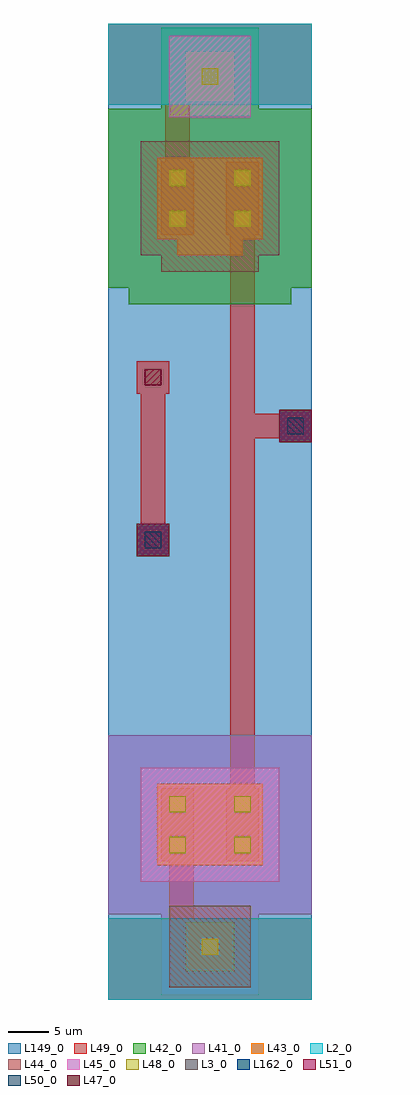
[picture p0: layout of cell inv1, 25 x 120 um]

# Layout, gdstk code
import gdstk
lib = gdstk.Library(unit=1e-6, precision=1e-09)
def R(c, l, rs):  # rectangles x0, y0, x1, y1
    for r in rs: c.add(gdstk.rectangle(r[:2], r[2:], *l))
def P(c, l, *ps):  # polygons
    for p in ps: c.add(gdstk.Polygon(p, *l))
L2_0 = (2, 0)
L3_0 = (3, 0)
L41_0 = (41, 0)
L42_0 = (42, 0)
L43_0 = (43, 0)
L44_0 = (44, 0)
L45_0 = (45, 0)
L46_0 = (46, 0)
L47_0 = (47, 0)
L48_0 = (48, 0)
L49_0 = (49, 0)
L50_0 = (50, 0)
L51_0 = (51, 0)
L149_0 = (149, 0)
L162_0 = (162, 0)

via = lib.new_cell('via')
R(via, L49_0, [(-2,-2,2,2)])
R(via, L50_0, [(-1,-1,1,1)])
R(via, L51_0, [(-2,-2,2,2)])

inv1 = lib.new_cell('inv1')
R(inv1, L2_0, [(0,0,25,10), (0,110,25,120)])
R(inv1, L3_0, [(3.5,54.5,7.5,58.5), (21,68.5,25,72.5)])
R(inv1, L41_0, [(6.5,0.5,18.5,12.5), (0,10.5,25,32.5)])
R(inv1, L42_0, [(6.5,107.5,18.5,119.5)])
P(inv1, L42_0, [(2.5,85.5),(2.5,87.5),(0,87.5),(0,109.5),(25,109.5),(25,87.5),(22.5,87.5),(22.5,85.5)])
R(inv1, L43_0, [(9.5,3.5,15.5,9.5), (6,16.5,19,26.5), (6,16.5,11.5,26.5), (13.5,16.5,19,26.5), (9.5,110.5,15.5,116.5)])
P(inv1, L43_0, [(8.5,91.5),(8.5,93.5),(6,93.5),(6,103.5),(19,103.5),(19,93.5),(16.5,93.5),(16.5,91.5)],
  [(8.5,91.5),(8.5,93.5),(6,93.5),(6,103.5),(11.5,103.5),(11.5,91.5)],
  [(13.5,91.5),(13.5,103.5),(19,103.5),(19,93.5),(16.5,93.5),(16.5,91.5)])
R(inv1, L44_0, [(7.5,1.5,17.5,11.5)])
P(inv1, L44_0, [(6.5,89.5),(6.5,91.5),(4,91.5),(4,105.5),(21,105.5),(21,91.5),(18.5,91.5),(18.5,89.5)])
R(inv1, L45_0, [(4,14.5,21,28.5), (7.5,108.5,17.5,118.5)])
R(inv1, L47_0, [(4.5,75.5,6.5,77.5)])
R(inv1, L48_0, [(11.5,5.5,13.5,7.5), (7.5,18,9.5,20), (15.5,18,17.5,20), (7.5,23,9.5,25), (15.5,23,17.5,25), (7.5,95,9.5,97), (15.5,95,17.5,97), (7.5,100,9.5,102), (15.5,100,17.5,102), (11.5,112.5,13.5,114.5)])
R(inv1, L49_0, [(0,0,25,10), (10.5,4.5,14.5,8.5), (7.5,5.5,10.5,20), (6.5,17,10.5,26), (14.5,17,18.5,26), (3.5,74.5,7.5,78.5), (6.5,94,10.5,103), (14.5,94,18.5,103), (7,99.5,10,114), (0,110,25,120), (10.5,111.5,14.5,115.5)])
R(inv1, L149_0, [(0,0,25,10), (0,0,25,120), (10.5,4.5,14.5,8.5), (7.5,5.5,10.5,20), (3.5,74.5,7.5,78.5), (7,99.5,10,114), (0,110,25,120), (10.5,111.5,14.5,115.5)])
R(inv1, L162_0, [(3.5,54.5,7.5,58.5), (21,68.5,25,72.5)])
inv1.add(gdstk.FlexPath([(16.5,70.5),(23,70.5)], 3, ends="extended", simple_path=True, layer=49, datatype=0))  # L49_0
inv1.add(gdstk.FlexPath([(16.5,43),(16.5,23.5)], 3, ends="extended", simple_path=True, layer=49, datatype=0))  # L49_0
inv1.add(gdstk.FlexPath([(16.5,100.5),(16.5,43)], 3, ends="extended", simple_path=True, layer=49, datatype=0))  # L49_0
inv1.add(gdstk.FlexPath([(5.5,56.5),(5.5,76.5)], 3, ends="extended", simple_path=True, layer=49, datatype=0))  # L49_0
inv1.add(gdstk.FlexPath([(16.5,70.5),(23,70.5)], 3, ends="extended", simple_path=True, layer=149, datatype=0))  # L149_0
inv1.add(gdstk.FlexPath([(16.5,43),(16.5,23.5)], 3, ends="extended", simple_path=True, layer=149, datatype=0))  # L149_0
inv1.add(gdstk.FlexPath([(16.5,100.5),(16.5,43)], 3, ends="extended", simple_path=True, layer=149, datatype=0))  # L149_0
inv1.add(gdstk.FlexPath([(5.5,56.5),(5.5,76.5)], 3, ends="extended", simple_path=True, layer=149, datatype=0))  # L149_0
inv1.add(gdstk.FlexPath([(3,74),(3,74.035)], 0, ends="flush", simple_path=True, layer=46, datatype=0))  # L46_0
inv1.add(gdstk.FlexPath([(3,74.035),(3,75.035)], 0, ends="flush", simple_path=True, layer=46, datatype=0))  # L46_0
inv1.add(gdstk.FlexPath([(3,75.035),(3,76.035)], 0, ends="flush", simple_path=True, layer=46, datatype=0))  # L46_0
inv1.add(gdstk.FlexPath([(3,76.035),(3,77.035)], 0, ends="flush", simple_path=True, layer=46, datatype=0))  # L46_0
inv1.add(gdstk.FlexPath([(3,77.035),(3,78.965)], 0, ends="flush", simple_path=True, layer=46, datatype=0))  # L46_0
inv1.add(gdstk.FlexPath([(3,78.965),(3,79)], 0, ends="flush", simple_path=True, layer=46, datatype=0))  # L46_0
inv1.add(gdstk.FlexPath([(11.5,105.5),(11.535,105.5)], 0, ends="flush", simple_path=True, layer=46, datatype=0))  # L46_0
inv1.add(gdstk.FlexPath([(11.535,105.5),(13.465,105.5)], 0, ends="flush", simple_path=True, layer=46, datatype=0))  # L46_0
inv1.add(gdstk.FlexPath([(13.465,105.5),(13.5,105.5)], 0, ends="flush", simple_path=True, layer=46, datatype=0))  # L46_0
inv1.add(gdstk.FlexPath([(13.5,105.5),(13.5,105.465)], 0, ends="flush", simple_path=True, layer=46, datatype=0))  # L46_0
inv1.add(gdstk.FlexPath([(13.5,105.465),(13.5,104.465)], 0, ends="flush", simple_path=True, layer=46, datatype=0))  # L46_0
inv1.add(gdstk.FlexPath([(13.5,104.465),(13.5,103.465)], 0, ends="flush", simple_path=True, layer=46, datatype=0))  # L46_0
inv1.add(gdstk.FlexPath([(13.5,103.465),(13.5,102.465)], 0, ends="flush", simple_path=True, layer=46, datatype=0))  # L46_0
inv1.add(gdstk.FlexPath([(13.5,102.465),(13.5,101.465)], 0, ends="flush", simple_path=True, layer=46, datatype=0))  # L46_0
inv1.add(gdstk.FlexPath([(13.5,101.465),(13.5,100.465)], 0, ends="flush", simple_path=True, layer=46, datatype=0))  # L46_0
inv1.add(gdstk.FlexPath([(13.5,100.465),(13.5,99.465)], 0, ends="flush", simple_path=True, layer=46, datatype=0))  # L46_0
inv1.add(gdstk.FlexPath([(13.5,99.465),(13.5,98.465)], 0, ends="flush", simple_path=True, layer=46, datatype=0))  # L46_0
inv1.add(gdstk.FlexPath([(13.5,98.465),(13.5,97.465)], 0, ends="flush", simple_path=True, layer=46, datatype=0))  # L46_0
inv1.add(gdstk.FlexPath([(13.5,97.465),(13.5,96.465)], 0, ends="flush", simple_path=True, layer=46, datatype=0))  # L46_0
inv1.add(gdstk.FlexPath([(13.5,96.465),(13.5,95.465)], 0, ends="flush", simple_path=True, layer=46, datatype=0))  # L46_0
inv1.add(gdstk.FlexPath([(13.5,95.465),(13.5,94.465)], 0, ends="flush", simple_path=True, layer=46, datatype=0))  # L46_0
inv1.add(gdstk.FlexPath([(13.5,94.465),(13.5,93.465)], 0, ends="flush", simple_path=True, layer=46, datatype=0))  # L46_0
inv1.add(gdstk.FlexPath([(13.5,93.465),(13.5,92.465)], 0, ends="flush", simple_path=True, layer=46, datatype=0))  # L46_0
inv1.add(gdstk.FlexPath([(13.5,92.465),(13.5,91.465)], 0, ends="flush", simple_path=True, layer=46, datatype=0))  # L46_0
inv1.add(gdstk.FlexPath([(13.5,91.465),(13.5,90.465)], 0, ends="flush", simple_path=True, layer=46, datatype=0))  # L46_0
inv1.add(gdstk.FlexPath([(13.5,90.465),(13.5,89.465)], 0, ends="flush", simple_path=True, layer=46, datatype=0))  # L46_0
inv1.add(gdstk.FlexPath([(13.5,89.465),(13.5,88.465)], 0, ends="flush", simple_path=True, layer=46, datatype=0))  # L46_0
inv1.add(gdstk.FlexPath([(13.5,88.465),(13.5,87.465)], 0, ends="flush", simple_path=True, layer=46, datatype=0))  # L46_0
inv1.add(gdstk.FlexPath([(13.5,87.465),(13.5,86.465)], 0, ends="flush", simple_path=True, layer=46, datatype=0))  # L46_0
inv1.add(gdstk.FlexPath([(13.5,86.465),(13.5,85.465)], 0, ends="flush", simple_path=True, layer=46, datatype=0))  # L46_0
inv1.add(gdstk.FlexPath([(13.5,85.465),(13.5,84.465)], 0, ends="flush", simple_path=True, layer=46, datatype=0))  # L46_0
inv1.add(gdstk.FlexPath([(13.5,84.465),(13.5,83.035)], 0, ends="flush", simple_path=True, layer=46, datatype=0))  # L46_0
inv1.add(gdstk.FlexPath([(13.5,83.035),(13.5,83)], 0, ends="flush", simple_path=True, layer=46, datatype=0))  # L46_0
inv1.add(gdstk.FlexPath([(13.5,58),(13.5,57.965)], 0, ends="flush", simple_path=True, layer=46, datatype=0))  # L46_0
inv1.add(gdstk.FlexPath([(13.5,57.965),(13.5,56.965)], 0, ends="flush", simple_path=True, layer=46, datatype=0))  # L46_0
inv1.add(gdstk.FlexPath([(13.5,56.965),(13.5,55.965)], 0, ends="flush", simple_path=True, layer=46, datatype=0))  # L46_0
inv1.add(gdstk.FlexPath([(13.5,55.965),(13.5,54.965)], 0, ends="flush", simple_path=True, layer=46, datatype=0))  # L46_0
inv1.add(gdstk.FlexPath([(13.5,54.965),(13.5,53.965)], 0, ends="flush", simple_path=True, layer=46, datatype=0))  # L46_0
inv1.add(gdstk.FlexPath([(13.5,53.965),(13.5,52.965)], 0, ends="flush", simple_path=True, layer=46, datatype=0))  # L46_0
inv1.add(gdstk.FlexPath([(13.5,52.965),(13.5,51.965)], 0, ends="flush", simple_path=True, layer=46, datatype=0))  # L46_0
inv1.add(gdstk.FlexPath([(13.5,51.965),(13.5,50.965)], 0, ends="flush", simple_path=True, layer=46, datatype=0))  # L46_0
inv1.add(gdstk.FlexPath([(13.5,50.965),(13.5,49.965)], 0, ends="flush", simple_path=True, layer=46, datatype=0))  # L46_0
inv1.add(gdstk.FlexPath([(13.5,49.965),(13.5,48.965)], 0, ends="flush", simple_path=True, layer=46, datatype=0))  # L46_0
inv1.add(gdstk.FlexPath([(13.5,48.965),(13.5,47.965)], 0, ends="flush", simple_path=True, layer=46, datatype=0))  # L46_0
inv1.add(gdstk.FlexPath([(13.5,47.965),(13.5,46.965)], 0, ends="flush", simple_path=True, layer=46, datatype=0))  # L46_0
inv1.add(gdstk.FlexPath([(13.5,46.965),(13.5,45.965)], 0, ends="flush", simple_path=True, layer=46, datatype=0))  # L46_0
inv1.add(gdstk.FlexPath([(13.5,45.965),(13.5,44.965)], 0, ends="flush", simple_path=True, layer=46, datatype=0))  # L46_0
inv1.add(gdstk.FlexPath([(13.5,44.965),(13.5,43.965)], 0, ends="flush", simple_path=True, layer=46, datatype=0))  # L46_0
inv1.add(gdstk.FlexPath([(13.5,43.965),(13.5,42.965)], 0, ends="flush", simple_path=True, layer=46, datatype=0))  # L46_0
inv1.add(gdstk.FlexPath([(13.5,42.965),(13.5,41.965)], 0, ends="flush", simple_path=True, layer=46, datatype=0))  # L46_0
inv1.add(gdstk.FlexPath([(13.5,41.965),(13.5,40.965)], 0, ends="flush", simple_path=True, layer=46, datatype=0))  # L46_0
inv1.add(gdstk.FlexPath([(13.5,40.965),(13.5,39.965)], 0, ends="flush", simple_path=True, layer=46, datatype=0))  # L46_0
inv1.add(gdstk.FlexPath([(13.5,39.965),(13.5,38.965)], 0, ends="flush", simple_path=True, layer=46, datatype=0))  # L46_0
inv1.add(gdstk.FlexPath([(13.5,38.965),(13.5,37.965)], 0, ends="flush", simple_path=True, layer=46, datatype=0))  # L46_0
inv1.add(gdstk.FlexPath([(13.5,37.965),(13.5,36.965)], 0, ends="flush", simple_path=True, layer=46, datatype=0))  # L46_0
inv1.add(gdstk.FlexPath([(13.5,36.965),(13.5,35.965)], 0, ends="flush", simple_path=True, layer=46, datatype=0))  # L46_0
inv1.add(gdstk.FlexPath([(13.5,35.965),(13.5,34.965)], 0, ends="flush", simple_path=True, layer=46, datatype=0))  # L46_0
inv1.add(gdstk.FlexPath([(13.5,34.965),(13.5,33.965)], 0, ends="flush", simple_path=True, layer=46, datatype=0))  # L46_0
inv1.add(gdstk.FlexPath([(13.5,33.965),(13.5,32.965)], 0, ends="flush", simple_path=True, layer=46, datatype=0))  # L46_0
inv1.add(gdstk.FlexPath([(13.5,32.965),(13.5,31.965)], 0, ends="flush", simple_path=True, layer=46, datatype=0))  # L46_0
inv1.add(gdstk.FlexPath([(13.5,31.965),(13.5,30.965)], 0, ends="flush", simple_path=True, layer=46, datatype=0))  # L46_0
inv1.add(gdstk.FlexPath([(13.5,30.965),(13.5,29.965)], 0, ends="flush", simple_path=True, layer=46, datatype=0))  # L46_0
inv1.add(gdstk.FlexPath([(13.5,29.965),(13.5,28.965)], 0, ends="flush", simple_path=True, layer=46, datatype=0))  # L46_0
inv1.add(gdstk.FlexPath([(13.5,28.965),(13.5,27.965)], 0, ends="flush", simple_path=True, layer=46, datatype=0))  # L46_0
inv1.add(gdstk.FlexPath([(13.5,27.965),(13.5,26.965)], 0, ends="flush", simple_path=True, layer=46, datatype=0))  # L46_0
inv1.add(gdstk.FlexPath([(13.5,26.965),(13.5,25.965)], 0, ends="flush", simple_path=True, layer=46, datatype=0))  # L46_0
inv1.add(gdstk.FlexPath([(13.5,25.965),(13.5,24.965)], 0, ends="flush", simple_path=True, layer=46, datatype=0))  # L46_0
inv1.add(gdstk.FlexPath([(13.5,24.965),(13.5,23.965)], 0, ends="flush", simple_path=True, layer=46, datatype=0))  # L46_0
inv1.add(gdstk.FlexPath([(13.5,23.965),(13.5,22.965)], 0, ends="flush", simple_path=True, layer=46, datatype=0))  # L46_0
inv1.add(gdstk.FlexPath([(13.5,22.965),(13.5,21.965)], 0, ends="flush", simple_path=True, layer=46, datatype=0))  # L46_0
inv1.add(gdstk.FlexPath([(13.5,21.965),(13.5,20.965)], 0, ends="flush", simple_path=True, layer=46, datatype=0))  # L46_0
inv1.add(gdstk.FlexPath([(13.5,20.965),(13.5,19.965)], 0, ends="flush", simple_path=True, layer=46, datatype=0))  # L46_0
inv1.add(gdstk.FlexPath([(13.5,19.965),(13.5,18.965)], 0, ends="flush", simple_path=True, layer=46, datatype=0))  # L46_0
inv1.add(gdstk.FlexPath([(13.5,18.965),(13.5,17.965)], 0, ends="flush", simple_path=True, layer=46, datatype=0))  # L46_0
inv1.add(gdstk.FlexPath([(13.5,17.965),(13.5,16.965)], 0, ends="flush", simple_path=True, layer=46, datatype=0))  # L46_0
inv1.add(gdstk.FlexPath([(13.5,16.965),(13.5,15.965)], 0, ends="flush", simple_path=True, layer=46, datatype=0))  # L46_0
inv1.add(gdstk.FlexPath([(13.5,15.965),(13.5,14.535)], 0, ends="flush", simple_path=True, layer=46, datatype=0))  # L46_0
inv1.add(gdstk.FlexPath([(13.5,14.535),(13.5,14.5)], 0, ends="flush", simple_path=True, layer=46, datatype=0))  # L46_0
inv1.add(gdstk.FlexPath([(13.5,14.5),(13.465,14.5)], 0, ends="flush", simple_path=True, layer=46, datatype=0))  # L46_0
inv1.add(gdstk.FlexPath([(13.465,14.5),(11.535,14.5)], 0, ends="flush", simple_path=True, layer=46, datatype=0))  # L46_0
inv1.add(gdstk.FlexPath([(11.535,14.5),(11.5,14.5)], 0, ends="flush", simple_path=True, layer=46, datatype=0))  # L46_0
inv1.add(gdstk.FlexPath([(8,58),(13.5,58)], 0, ends="flush", simple_path=True, layer=46, datatype=0))  # L46_0
inv1.add(gdstk.FlexPath([(6,85),(11.5,85)], 0, ends="flush", simple_path=True, layer=46, datatype=0))  # L46_0
inv1.add(gdstk.FlexPath([(3,79),(6,79)], 0, ends="flush", simple_path=True, layer=46, datatype=0))  # L46_0
inv1.add(gdstk.FlexPath([(11.5,85),(11.5,105.5)], 0, ends="flush", simple_path=True, layer=46, datatype=0))  # L46_0
inv1.add(gdstk.FlexPath([(6,79),(6,85)], 0, ends="flush", simple_path=True, layer=46, datatype=0))  # L46_0
inv1.add(gdstk.FlexPath([(11.5,14.5),(11.5,56)], 0, ends="flush", simple_path=True, layer=46, datatype=0))  # L46_0
inv1.add(gdstk.FlexPath([(8,83),(8,58)], 0, ends="flush", simple_path=True, layer=46, datatype=0))  # L46_0
inv1.add(gdstk.FlexPath([(6,56),(6,74)], 0, ends="flush", simple_path=True, layer=46, datatype=0))  # L46_0
inv1.add(gdstk.FlexPath([(6,74),(3,74)], 0, ends="flush", simple_path=True, layer=46, datatype=0))  # L46_0
inv1.add(gdstk.FlexPath([(13.5,83),(8,83)], 0, ends="flush", simple_path=True, layer=46, datatype=0))  # L46_0
inv1.add(gdstk.FlexPath([(11.5,56),(6,56)], 0, ends="flush", simple_path=True, layer=46, datatype=0))  # L46_0
inv1.add(gdstk.Reference(via, (23,70.5)))
inv1.add(gdstk.Reference(via, (5.5,56.5)))

lib.write_gds('inv1.gds')
